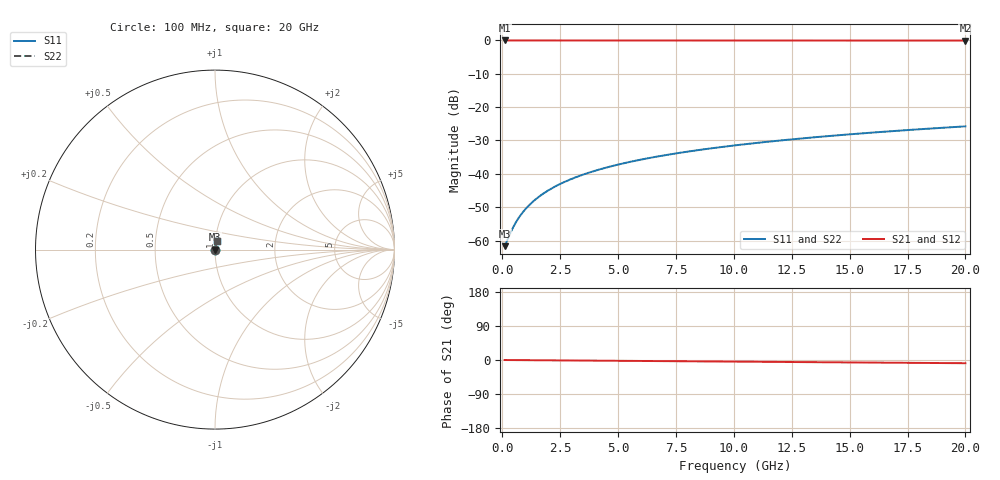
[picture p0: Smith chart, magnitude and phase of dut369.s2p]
! Touchstone file exported from HFSS 2026.1.0
!  File:  C:/ffzhzh/LocalFiles/Ansys_Project_Files/temp_train_TSV_369_1783019542_4048.aedt
!  Generated:  03:14:34 AM Jul  3, 2026
!  Design:  TSV
!  Project:  temp_train_TSV_369_1783019542_4048
! Variables:
!  h_bsmrdl = 2um
!  h_ox = 20um
!  h_rdl = 5um
!  h_sub = 83.81um
!  h_tmrdl = 5um
!  h_tsv = 83.81um
!  h_via = 3um
!  l_bsmrdl = 300um
!  l_sub = 407.2um
!  l_tmrdl = 200um
!  m_sub = 200um
!  pitch = 25.02um
!  r_tsv = 3.6um
!  s_tmrdl = 10um
!  w_bsmrdl = 18um
!  w_sub = 500um
!  w_tmrdl = 12um
!  x_tsv_center1 = 206um
!  x_tsv_center2 = 524um
!  x_tsv_center3 = 736um
!  x_tsv_center4 = 1054um
!  x_tsv_center5 = 1266um
!  x_tsv_center6 = 1584um
# GHz S MA R 50.000000
! Terminal data exported
! Port[1] = TSV1_1_T1
! Port[2] = TSV1_1_T2
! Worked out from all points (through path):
!   200 points, 100 MHz to 20 GHz, reference 50 ohm
!   highest |S21| = -0.01 dB at 100 MHz (marker M1); lowest = 0.0 dB at 20 GHz (marker M2)
!   group delay of S21, straight-line fit = 1.18 ps
!   lowest |S11| = -61.7 dB at 100 MHz (marker M3), VSWR 1.00, Z = 50.1 + j0.0299 ohm
!   |S11| at or under -10 dB: start of sweep to end of sweep
!   |S22| runs from -61.7 to -25.8 dB; largest |S21 - S12| = 3.2e-15
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0.1  0.0008231 21.3  0.9992 -0.0  0.9992 -0.0  0.0008231 21.3
! Gamma 0 0 0 0
! Port Impedance 50 0 50 0
0.4  0.001413 55.0  0.9992 -0.2  0.9992 -0.2  0.001413 55.0
0.5  0.001656 60.2  0.9992 -0.2  0.9992 -0.2  0.001656 60.2
0.6  0.001907 64.1  0.9992 -0.3  0.9992 -0.3  0.001907 64.1
0.7  0.002164 67.0  0.9992 -0.3  0.9992 -0.3  0.002164 67.0
0.9  0.00269 71.2  0.9991 -0.4  0.9991 -0.4  0.00269 71.2
1.1  0.003226 73.9  0.9991 -0.5  0.9991 -0.5  0.003226 73.9
1.3  0.003769 75.9  0.9991 -0.6  0.9991 -0.6  0.003769 75.9
1.7  0.004861 78.3  0.9991 -0.7  0.9991 -0.7  0.004861 78.3
2.2  0.00623 80.0  0.999 -1.0  0.999 -1.0  0.00623 80.0
2.8  0.007868 81.0  0.9989 -1.2  0.9989 -1.2  0.007868 81.0
3.5  0.009763 81.6  0.9988 -1.5  0.9988 -1.5  0.009763 81.6
4.2  0.01164 81.8  0.9986 -1.8  0.9986 -1.8  0.01164 81.8
5  0.01376 81.9  0.9985 -2.2  0.9985 -2.2  0.01376 81.9
5.9  0.01611 81.9  0.9983 -2.6  0.9983 -2.6  0.01611 81.9
6.8  0.01844 81.7  0.9981 -2.9  0.9981 -2.9  0.01844 81.7
8.3  0.02228 81.4  0.9978 -3.6  0.9978 -3.6  0.02228 81.4
10.1  0.02684 81.0  0.9975 -4.3  0.9975 -4.3  0.02684 81.0
11.7  0.03086 80.6  0.9972 -5.0  0.9972 -5.0  0.03086 80.6
13.4  0.03512 80.2  0.9969 -5.7  0.9969 -5.7  0.03512 80.2
16.7  0.04333 79.2  0.9963 -7.1  0.9963 -7.1  0.04333 79.2
20  0.05148 78.1  0.9956 -8.5  0.9956 -8.5  0.05148 78.1
